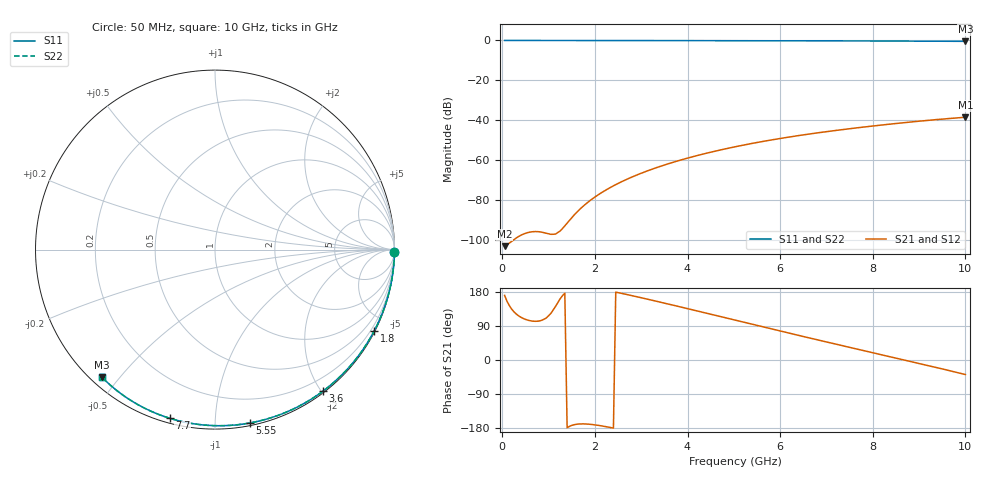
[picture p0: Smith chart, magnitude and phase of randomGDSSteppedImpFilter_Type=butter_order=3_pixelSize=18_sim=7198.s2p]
! freq	dB(S11)	phase(S11)	dB(S12)	phase(S12)
!  dB(S21)	phase(S21)	dB(S22)	phase(S22)
!S-par simulation data
#  GHz  S  DB  R 50
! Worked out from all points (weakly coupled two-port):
!   200 points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, 50 MHz to 10 GHz, reference 50 ohm
!   highest |S21| = -38.41 dB at 10 GHz (marker M1); lowest = -102.9 dB at 50 MHz (marker M2)
!   lowest |S11| = -0.4 dB at 10 GHz (marker M3), VSWR 38.95, Z = 1.54 - j22.6 ohm
!   |S11| at or under -10 dB: nowhere
!   |S22| runs from -0.4 to 0.0 dB; largest |S21 - S12| = 0
!   S11 on the Smith chart (normalised r, x): 50 MHz: open; 1.8 GHz: 0.04, -4.18; 3.6 GHz: 0.02, -2.02; 5.55 GHz: 0.02, -1.22; 7.7 GHz: 0.02, -0.77; 10 GHz: 0.03, -0.45
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0.05  -0.00 -0.8  -102.86 170.5  -102.86 170.5  -0.00 -0.8
0.45  -0.00 -6.8  -96.88 109.8  -96.88 109.8  -0.00 -6.8
0.9  -0.01 -13.6  -96.13 107.5  -96.13 107.5  -0.01 -13.6
1.75  -0.03 -26.2  -82.80 -168.6  -82.80 -168.6  -0.03 -26.2
1.8  -0.03 -26.9  -81.81 -168.8  -81.81 -168.8  -0.03 -26.9
1.9  -0.04 -28.4  -79.98 -169.7  -79.98 -169.7  -0.04 -28.4
2.05  -0.04 -30.6  -77.50 -172.0  -77.50 -172.0  -0.04 -30.6
2.25  -0.04 -33.5  -74.61 -176.2  -74.61 -176.2  -0.04 -33.5
2.45  -0.05 -36.4  -72.08 179.1  -72.08 179.1  -0.05 -36.4
2.65  -0.05 -39.3  -69.83 173.9  -69.83 173.9  -0.05 -39.3
3  -0.06 -44.3  -66.39 164.3  -66.39 164.3  -0.06 -44.3
3.4  -0.07 -49.9  -63.04 153.0  -63.04 153.0  -0.07 -49.9
3.6  -0.07 -52.7  -61.54 147.2  -61.54 147.2  -0.07 -52.7
4.3  -0.09 -62.3  -57.00 126.8  -57.00 126.8  -0.09 -62.3
5.05  -0.11 -72.2  -53.05 104.6  -53.05 104.6  -0.11 -72.2
5.55  -0.13 -78.7  -50.81 89.8  -50.81 89.8  -0.13 -78.7
6.1  -0.15 -85.6  -48.64 73.6  -48.64 73.6  -0.15 -85.6
6.7  -0.18 -93.1  -46.55 56.2  -46.55 56.2  -0.18 -93.1
7.7  -0.24 -105.1  -43.58 27.8  -43.58 27.8  -0.24 -105.1
8.35  -0.29 -112.7  -41.89 9.5  -41.89 9.5  -0.29 -112.7
9.15  -0.35 -121.9  -40.04 -13.3  -40.04 -13.3  -0.35 -121.9
10  -0.45 -131.4  -38.41 -38.4  -38.41 -38.4  -0.45 -131.4
